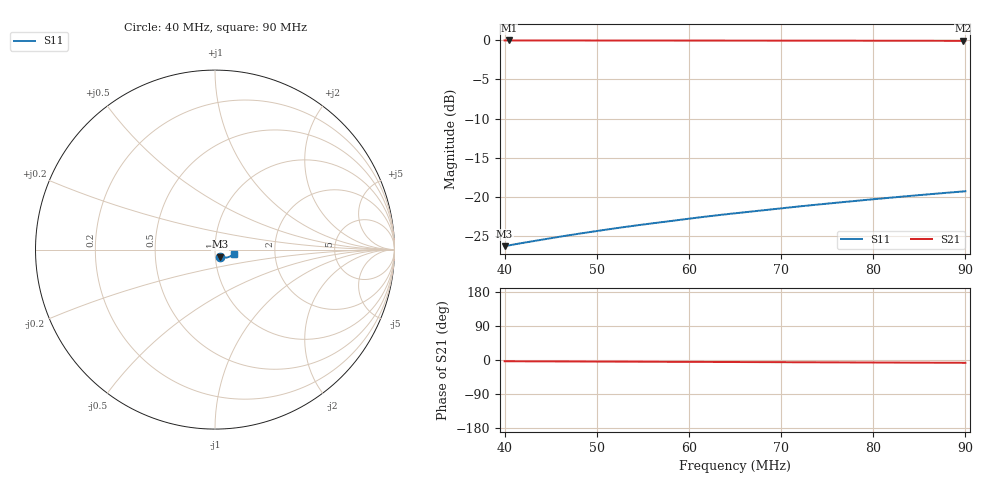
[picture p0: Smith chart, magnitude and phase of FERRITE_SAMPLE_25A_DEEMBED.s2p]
! COPPER MOUNTAIN TECHNOLOGIES, PLANAR TR1300/1, 00000000, 23.1.2/1.0
! Date: 7/5/2023 9:10:16 AM
! Data: Format [Calibration Info]
! Freq  S11: Re/Im  S21: Re/Im  S12: Re/Im  S22: Re/Im
# HZ S RI R 50
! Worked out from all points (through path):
!   1600 points, 40 MHz to 90 MHz, reference 50 ohm
!   highest |S21| = -0.01 dB at 40.47 MHz (marker M1); lowest = -0.1 dB at 89.78 MHz (marker M2)
!   group delay of S21, straight-line fit = 230 ps
!   lowest |S11| = -26.3 dB at 40 MHz (marker M3), VSWR 1.10, Z = 52.6 - j4.21 ohm
!   |S11| at or under -10 dB: start of sweep to end of sweep
!   S12 and S22 are empty: the file has one direction only
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4e7  0.0271 -0.0399  0.9971 -0.0576  0 0  0 0
4.018762e7  0.0274 -0.04  0.997 -0.0578  0 0  0 0
4.046904e7  0.0277 -0.0402  0.9971 -0.0582  0 0  0 0
4.218887e7  0.03 -0.0411  0.9968 -0.0607  0 0  0 0
4.450281e7  0.0332 -0.0422  0.9965 -0.0641  0 0  0 0
4.650406e7  0.036 -0.0431  0.9961 -0.067  0 0  0 0
4.834897e7  0.0386 -0.0437  0.9958 -0.0696  0 0  0 0
5.041276e7  0.0417 -0.0443  0.9954 -0.0726  0 0  0 0
5.235147e7  0.0446 -0.0447  0.995 -0.0754  0 0  0 0
5.429018e7  0.0476 -0.045  0.9945 -0.0781  0 0  0 0
5.666667e7  0.0513 -0.0452  0.9941 -0.0815  0 0  0 0
5.88868e7  0.0548 -0.0452  0.9936 -0.0846  0 0  0 0
6.073171e7  0.0578 -0.045  0.9932 -0.0872  0 0  0 0
6.310819e7  0.0616 -0.0446  0.9927 -0.0905  0 0  0 0
6.501563e7  0.0648 -0.0442  0.9924 -0.0932  0 0  0 0
6.86429e7  0.0708 -0.0429  0.9917 -0.0985  0 0  0 0
7.33646e7  0.0786 -0.0403  0.9905 -0.1054  0 0  0 0
7.692933e7  0.0846 -0.0377  0.9894 -0.1106  0 0  0 0
8.16823e7  0.0925 -0.0334  0.9878 -0.1173  0 0  0 0
8.562226e7  0.099 -0.0291  0.9864 -0.1226  0 0  0 0
8.978111e7  0.1055 -0.0239  0.9851 -0.1281  0 0  0 0
9e7  0.1058 -0.0236  0.9851 -0.1284  0 0  0 0
